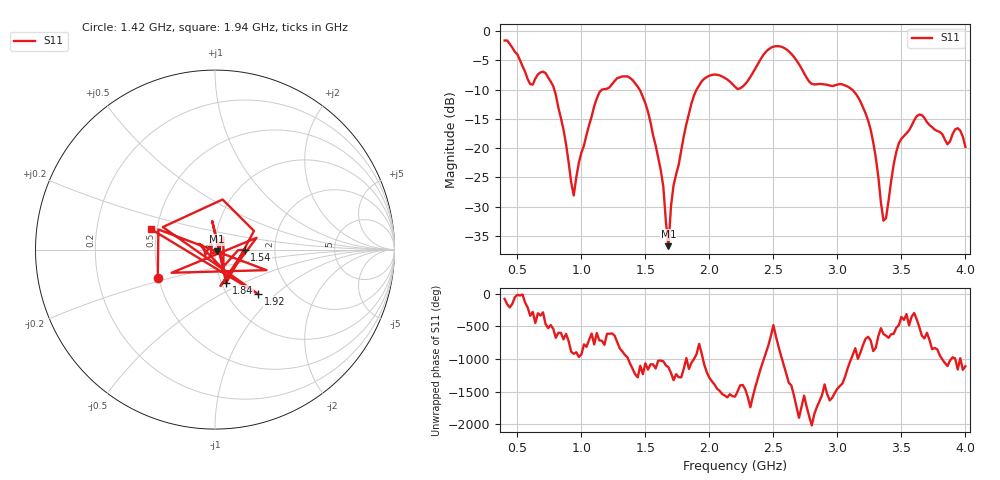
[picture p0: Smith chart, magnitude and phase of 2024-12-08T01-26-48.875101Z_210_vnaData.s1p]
!Created with skrf (http://scikit-rf.org).
# Hz S RI R 50.0
!freq ReS11 ImS11
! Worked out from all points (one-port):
!   181 points, 400 MHz to 4 GHz, reference 50 ohm
!   lowest |S11| = -36.8 dB at 1.68 GHz (marker M1), VSWR 1.03, Z = 51 - j1.03 ohm
!   |S11| at or under -10 dB: 787.9 MHz to 1.162 GHz (374.3 MHz wide, 38.4 % of centre); 1.454 GHz to 1.9 GHz (445.6 MHz wide, 26.6 % of centre); 3.114 GHz to end of sweep
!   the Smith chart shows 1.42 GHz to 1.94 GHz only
!   S11 on the Smith chart (normalised r, x): 1.42 GHz: 0.49, -0.18; 1.54 GHz: 1.40, -0.00; 1.84 GHz: 1.05, -0.41; 1.92 GHz: 1.38, -0.77; 1.94 GHz: 0.47, +0.12
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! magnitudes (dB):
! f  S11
! 400 MHz  -1.6
! 600 MHz  -9.1
! 720 MHz  -7.2
! 860 MHz  -16.8
! 940 MHz  -28.1
! 1.12 GHz  -11.5
! 1.3 GHz  -7.9
! 1.42 GHz  -8.9
! 1.54 GHz  -15.6
! 1.64 GHz  -26.6
! 1.68 GHz  -36.8
! 1.72 GHz  -26.4
! 1.76 GHz  -22.9
! 1.84 GHz  -14.1
! 1.92 GHz  -9.3
! 1.94 GHz  -8.6
! 2.2 GHz  -9.5
! 2.48 GHz  -2.9
! 2.66 GHz  -4.4
! 2.8 GHz  -9.0
! 3.1 GHz  -9.8
! 3.26 GHz  -16.9
! 3.36 GHz  -32.4
! 3.46 GHz  -20.7
! 3.56 GHz  -17.0
! 3.66 GHz  -14.4
! 3.94 GHz  -16.6
! 4 GHz  -19.8
